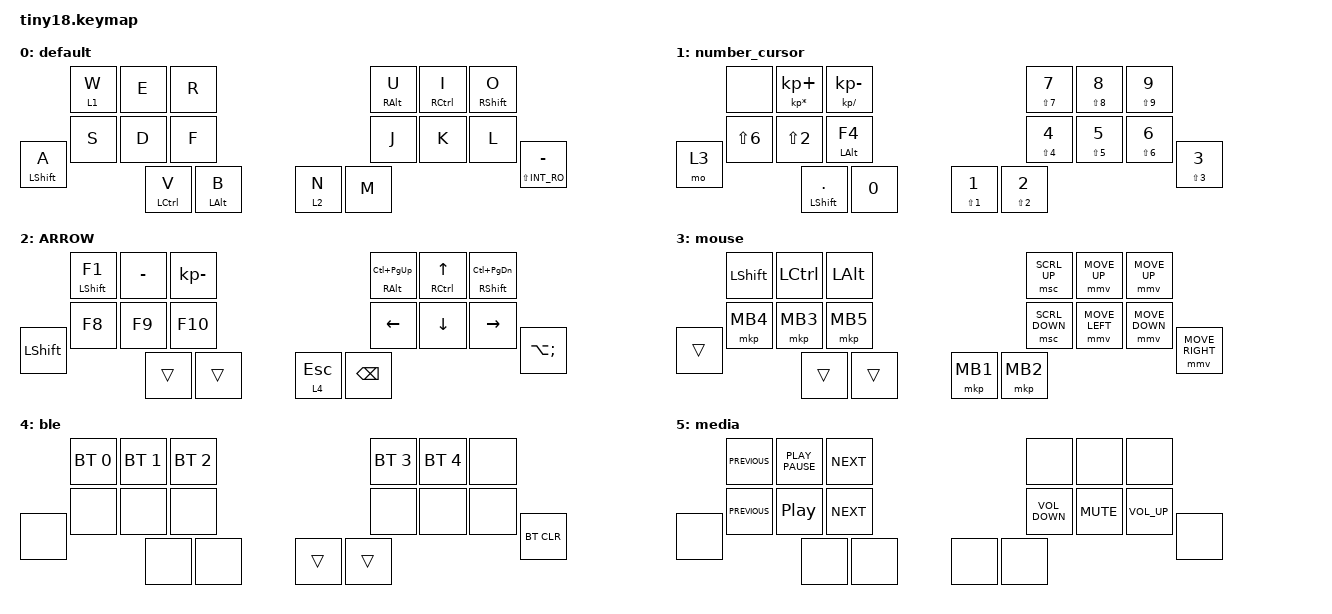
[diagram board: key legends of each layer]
#include <input/processors.dtsi>
#include <dt-bindings/zmk/input_transform.h>
#include <zephyr/dt-bindings/input/input-event-codes.h>

#define ZMK_POINTING_DEFAULT_MOVE_VAL 2100
#define ZMK_POINTING_DEFAULT_SCRL_VAL 30

#include <behaviors.dtsi>
#include <dt-bindings/zmk/bt.h>
#include <dt-bindings/zmk/keys.h>
#include <dt-bindings/zmk/pointing.h>

&mmv {
    time-to-max-speed-ms = <300>;
    acceleration-exponent = <2>;
};

&msc { time-to-max-speed-ms = <100>; };

/ {
    combos {
        compatible = "zmk,combos";

        u {
            bindings = <&kp Y>;
            key-positions = <3 4>;
            layers = <0>;
        };

        p {
            bindings = <&kp P>;
            key-positions = <4 5>;
            layers = <0>;
        };

        x {
            bindings = <&kp X>;
            key-positions = <0 7>;
            layers = <0>;
        };

        lang1 {
            bindings = <&kp LANGUAGE_1>;
            key-positions = <11 12>;
            layers = <0>;
        };

        g {
            bindings = <&kp G>;
            key-positions = <8 9>;
            layers = <0>;
        };

        t {
            bindings = <&kp T>;
            key-positions = <1 2>;
            layers = <0>;
        };

        z {
            bindings = <&kp Z>;
            key-positions = <0 1 2>;
            layers = <0>;
        };

        esc {
            bindings = <&kp ESCAPE>;
            key-positions = <0 2>;
            layers = <0>;
        };

        v {
            bindings = <&kp V>;
            key-positions = <9 2>;
            layers = <0>;
        };

        c {
            bindings = <&kp C>;
            key-positions = <9 14>;
            layers = <0>;
        };

        medialayer {
            bindings = <&mo 5>;
            key-positions = <6 13>;
            layers = <0>;
        };

        tab {
            bindings = <&kp TAB>;
            key-positions = <7 9>;
            layers = <0>;
        };

        b {
            bindings = <&kp SPACE>;
            key-positions = <9 15>;
            layers = <0>;
        };

        comma {
            bindings = <&kp COMMA>;
            key-positions = <11 16>;
            layers = <0>;
        };

        period {
            bindings = <&kp PERIOD>;
            key-positions = <12 16>;
            layers = <0>;
        };

        n {
            bindings = <&kp BACKSPACE>;
            key-positions = <10 16>;
        };

        m {
            bindings = <&kp ENTER>;
            key-positions = <11 17>;
        };

        lang2 {
            bindings = <&kp LANGUAGE_2>;
            key-positions = <7 8>;
        };

        blue {
            bindings = <&clt 4 DELETE>;
            key-positions = <16 17>;
        };

        mo_layer1 {
            bindings = <&mo 1>;
            key-positions = <14 15>;
        };

        qes {
            bindings = <&kp SLASH>;
            key-positions = <5 12>;
        };

        q {
            bindings = <&kp Q>;
            key-positions = <0 1>;
        };

        h2 {
            bindings = <&kp H>;
            key-positions = <10 11>;
        };

        eql {
            bindings = <&kp LS(MINUS)>;
            key-positions = <12 13>;
        };
    };

    behaviors {
        cmt: custom_mod_tap {
            compatible = "zmk,behavior-hold-tap";
            label = "CUSTOM_MOD_TAP";
            bindings = <&kp>, <&kp>;

            #binding-cells = <2>;
            tapping-term-ms = <180>;
            quick-tap-ms = <120>;
            flavor = "tap-preferred";
            require-prior-idle-ms = <120>;
        };

        clt: custom_layer_tap {
            compatible = "zmk,behavior-hold-tap";
            label = "CUSTOM_LAYER_TAP";
            bindings = <&mo>, <&kp>;

            #binding-cells = <2>;
            tapping-term-ms = <180>;
            quick-tap-ms = <120>;
            flavor = "tap-preferred";
        };
    };

    keymap {
        compatible = "zmk,keymap";

        default {
            bindings = <
&lt 1 W  &kp E  &kp R  &cmt RIGHT_ALT U  &cmt RIGHT_CONTROL I  &cmt RIGHT_SHIFT O  &cmt LEFT_SHIFT A  &kp S  &kp D  &kp F  &kp J  &kp K  &kp L  &cmt LS(INT_RO) MINUS  &mt LCTRL V  &mt LEFT_ALT B  &clt 2 N  &kp M
            >;
        };

        number_cursor {
            bindings = <
&none  &cmt KP_MULTIPLY KP_PLUS  &cmt KP_SLASH KP_MINUS  &cmt LS(NUMBER_7) NUMBER_7  &cmt LS(NUMBER_8) NUMBER_8  &cmt LS(NUMBER_9) NUMBER_9  &mo 3  &kp LS(NUMBER_6)  &kp LS(NUMBER_2)  &cmt LEFT_ALT F4  &mt LS(NUMBER_4) NUMBER_4  &mt LS(NUMBER_5) NUMBER_5  &mt LS(NUMBER_6) NUMBER_6  &mt LS(NUMBER_3) NUMBER_3  &cmt LEFT_SHIFT PERIOD  &kp NUMBER_0  &mt LS(NUMBER_1) NUMBER_1  &mt LS(NUMBER_2) NUMBER_2
            >;
        };

        ARROW {
            bindings = <
&cmt LEFT_SHIFT F1  &kp MINUS  &kp KP_SUBTRACT  &cmt RIGHT_ALT LC(PAGE_UP)  &cmt RIGHT_CONTROL UP_ARROW  &cmt RIGHT_SHIFT LC(PAGE_DOWN)  &kp LEFT_SHIFT  &kp F8  &kp F9  &kp F10  &kp LEFT_ARROW  &kp DOWN_ARROW  &kp RIGHT_ARROW  &kp LA(SEMI)  &trans  &trans  &clt 4 ESCAPE  &kp BACKSPACE
            >;
        };

        mouse {
            bindings = <
&kp LEFT_SHIFT  &kp LEFT_CONTROL  &kp LEFT_ALT  &msc SCRL_UP  &mmv MOVE_UP  &mmv MOVE_UP  &trans  &mkp MB4  &mkp MB3  &mkp MB5  &msc SCRL_DOWN  &mmv MOVE_LEFT  &mmv MOVE_DOWN  &mmv MOVE_RIGHT  &trans  &trans  &mkp MB1  &mkp MB2
            >;
        };

        ble {
            bindings = <
&bt BT_SEL 0  &bt BT_SEL 1  &bt BT_SEL 2  &bt BT_SEL 3  &bt BT_SEL 4  &none  &none  &none  &none  &none  &none  &none  &none  &bt BT_CLR  &none  &none  &trans  &trans
            >;
        };

        media {
            bindings = <
&kp K_PREVIOUS  &kp K_PLAY_PAUSE  &kp K_NEXT  &none  &none  &none  &none  &kp C_PREVIOUS  &kp C_PLAY_PAUSE  &kp C_NEXT  &kp K_VOLUME_DOWN  &kp K_MUTE  &kp K_VOLUME_UP  &none  &none  &none  &none  &none
            >;
        };
    };
};
